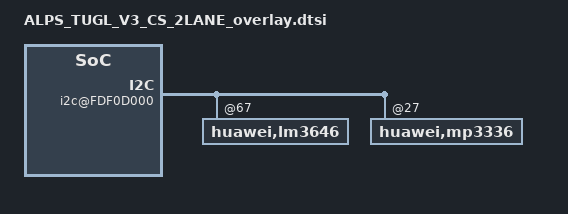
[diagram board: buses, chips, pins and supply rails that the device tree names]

/**
 * Copyright (C) 2014 Hisilicon Ltd.
 *
 *  This program is free software; you can redistribute it and/or modify
 *  it under the terms of the GNU General Public License version 2 as
 *  publishhed by the Free Software Foundation.
 */

/include/ "ALPS_TUGL_V1_CS_overlay.dtsi"

/ {
	board_id = <6409>;
};

&rootparam {
    hisi,boardid = <6 4 0 9>;
    hisi,boardname = "ALPS_TUGL_V3_CS_2LANE";
};

	&huawei_lcd_panel {
		product_id = <1001>;
	};

	&sensorhub{
		gsensor{
			acc1{
				negate_x =<0>;
				negate_y =<1>;
				negate_z =<1>;
			};
			acc2{
				negate_x =<0>;
				negate_y =<1>;
				negate_z =<1>;
			};
		};
		gyroscope{
			gyro1{
				position = <5>;
				axis_map_x =<0>;
				axis_map_y =<1>;
				axis_map_z =<2>;
				negate_x =<0>;
				negate_y =<1>;
				negate_z =<1>;
			};
			gyro2{
				position = <5>;
				axis_map_x =<0>;
				axis_map_y =<1>;
				axis_map_z =<2>;
				negate_x =<0>;
				negate_y =<1>;
				negate_z =<1>;
			};
		};
		rpc{
           		 rpc{
				compatible = "huawei,rpc";
				file_id = <0x18>;
				sensor_list_info_id = <24>;
				sensor_type = "rpc";
				sensorlist_name = "rpc";
				mask = <0xFFFF 0x630 0x630 0x630 0x200 0xFFFF 0xFFFF 0xFFFF
						0xFFFF 0xFFFF 0xFFFF 0xFFFF 0xFFFF 0xFFFF 0xFFFF 0xFFFF
						0xFFFF 0xFFFF 0xFFFF 0xFFFF 0xFFFF 0xFFFF 0xFFFF 0xFFFF
						0xFFFF 0xFFFF 0xFFFF 0xFFFF 0xFFFF 0xFFFF 0xFFFF 0xFFFF>;
				table = <0xFFFF 0x210 0x220 0x200 0x0 0xFFFF 0xFFFF 0xFFFF
						 0xFFFF 0xFFFF 0xFFFF 0xFFFF 0xFFFF 0xFFFF 0xFFFF 0xFFFF
						 0xFFFF 0xFFFF 0xFFFF 0xFFFF 0xFFFF 0xFFFF 0xFFFF 0xFFFF
						 0xFFFF 0xFFFF 0xFFFF 0xFFFF 0xFFFF 0xFFFF 0xFFFF 0xFFFF>;
				default_value = <0x1D>;
				status = "ok";
			};
        	};
		magn_bracket{
			magn_bracket{
				compatible="huawei,magn_bracket";
				sensor_type="hw_magn_bracket";
				file_id=<21>;
				sensor_list_info_id = <23>;
				mag_axis_change = <0x32 0x9c4 0x8c 0x1388 0xfffff254 0xffffff6a>;
				sensorlist_name="magn_bracket";
				vendor="hw";
				status = "ok";
			};
		};
	};
	&amba {
		i2c@FDF0D000 {

			huawei,lm3646@67{
				huawei,led-type = <0>; /* 1, dual tempature; 0, dual white */
				huawei,flash-current = <0 15 0>; /* */
				status = "ok";
			};

			huawei,mp3336@27{
				huawei,led-type = <0>; /* 1, dual tempature; 0, dual white */
				huawei,flash-current = <0 18 0>;
				status = "ok";
			};

		};
	};
